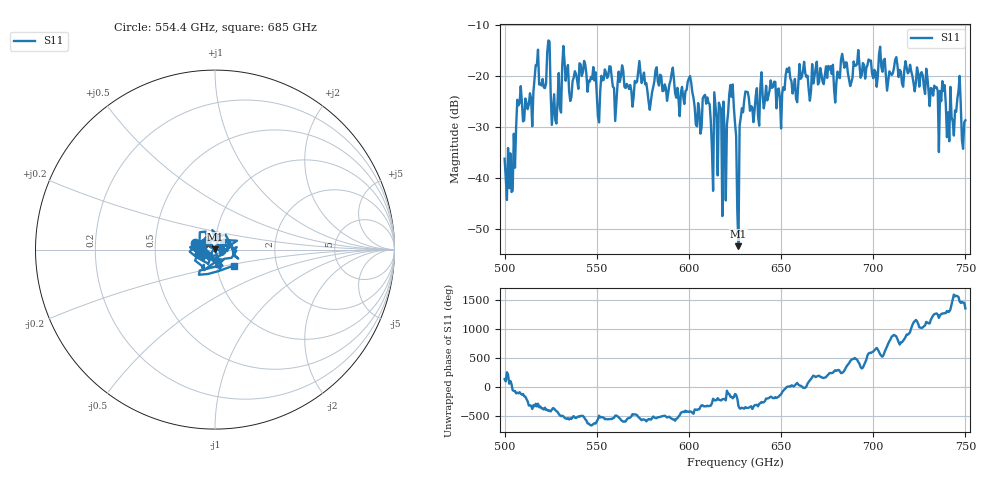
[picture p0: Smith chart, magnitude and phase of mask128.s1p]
!Created with skrf (http://scikit-rf.org).
# GHz S MA R 50.0
!freq magS11 angS11
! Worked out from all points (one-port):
!   401 points, 500 GHz to 750 GHz, reference 50 ohm
!   lowest |S11| = -53.4 dB at 626.9 GHz (marker M1), VSWR 1.00, Z = 50.2 + j0.105 ohm
!   |S11| at or under -10 dB: start of sweep to end of sweep
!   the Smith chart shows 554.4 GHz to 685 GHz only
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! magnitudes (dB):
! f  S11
! 500 GHz  -36.2
! 503.8 GHz  -42.8
! 508.1 GHz  -25.3
! 513.8 GHz  -23.3
! 516.9 GHz  -17.8
! 523.8 GHz  -12.9
! 526.9 GHz  -23.5
! 531.2 GHz  -18.1
! 542.5 GHz  -19.1
! 551.2 GHz  -29.1
! 562.5 GHz  -21.1
! 593.8 GHz  -22.3
! 600.6 GHz  -20.0
! 605.6 GHz  -26.6
! 609.4 GHz  -25.4
! 619.4 GHz  -31.5
! 623.1 GHz  -24.0
! 625 GHz  -29.2
! 625.6 GHz  -31.8
! 626.9 GHz  -53.4
! 628.8 GHz  -26.3
! 631.2 GHz  -23.1
! 656.2 GHz  -23.4
! 687.5 GHz  -21.9
! 718.8 GHz  -19.4
! 742.5 GHz  -28.1
! 746.2 GHz  -22.9
! 750 GHz  -28.7
